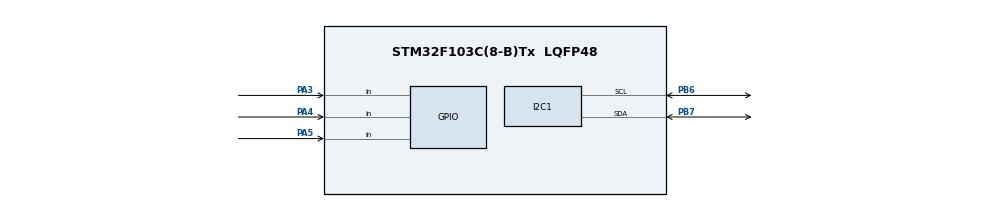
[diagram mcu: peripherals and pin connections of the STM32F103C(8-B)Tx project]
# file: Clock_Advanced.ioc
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Mcu.Family=STM32F1
Mcu.Name=STM32F103C(8-B)Tx
Mcu.Package=LQFP48
NVIC.PriorityGroup=NVIC_PRIORITYGROUP_3
NVIC.TIM2_IRQn=true\:0\:0\:false\:false\:true\:true\:true\:true
PA13.Mode=Serial_Wire
PA13.Signal=SYS_JTMS-SWDIO
PA14.Mode=Serial_Wire
PA14.Signal=SYS_JTCK-SWCLK
PA3.GPIO_PuPd=GPIO_PULLUP
PA3.Signal=GPIO_Input
PA4.GPIO_PuPd=GPIO_PULLUP
PA4.Signal=GPIO_Input
PA5.GPIO_PuPd=GPIO_PULLUP
PA5.Signal=GPIO_Input
PB6.Mode=I2C
PB6.Signal=I2C1_SCL
PB7.Mode=I2C
PB7.Signal=I2C1_SDA
PD0-OSC_IN.Mode=HSE-External-Oscillator
PD0-OSC_IN.Signal=RCC_OSC_IN
PD1-OSC_OUT.Mode=HSE-External-Oscillator
PD1-OSC_OUT.Signal=RCC_OSC_OUT
ProjectManager.HeapSize=0x200
ProjectManager.StackSize=0x400
ProjectManager.TargetToolchain=MDK-ARM V4
RCC.APB1Freq_Value=8000000
RCC.APB2Freq_Value=8000000
TIM2.AutoReloadPreload=TIM_AUTORELOAD_PRELOAD_ENABLE
TIM2.Period=999
TIM2.Prescaler=7999
VP_TIM2_VS_ClockSourceINT.Mode=Internal
board=custom

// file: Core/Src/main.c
/* USER CODE BEGIN Header */
/**
  ******************************************************************************
  * @file           : main.c
  * @brief          : Main program body
  ******************************************************************************
  * @attention
  *
  * Copyright (c) 2024 STMicroelectronics.
  * All rights reserved.
  *
  * This software is licensed under terms that can be found in the LICENSE file
  * in the root directory of this software component.
  * If no LICENSE file comes with this software, it is provided AS-IS.
  *
  ******************************************************************************
  */
/* USER CODE END Header */
#include "main.h"

/* USER CODE BEGIN Includes */
#include "RTC.h"
#include "LiquidCrystal_I2C.h"
#include "Button.h"
/* USER CODE END Includes */

I2C_HandleTypeDef hi2c1;

TIM_HandleTypeDef htim2;

void SystemClock_Config(void);
static void MX_GPIO_Init(void);
static void MX_TIM2_Init(void);
static void MX_I2C1_Init(void);
/* USER CODE BEGIN PFP */
RTC_Typedef hrtc1;
LiquidCrystal_I2C hlcd;
Button_Typdef start_stop_button;
Button_Typdef mode_button;
Button_Typdef light_button;
/* USER CODE END PFP */

/* USER CODE BEGIN 0 */

//--------define cac macro su dung o TRANG THAI IDLE----------------
typedef enum
{
	idle_state,
	adjust_time_state,
	set_alarm_state,
	sport_timer_state,
}mode_state;
mode_state clock_state= idle_state;

typedef enum
{
	backlight_on,
	backlight_off,
}back_light_state;
back_light_state backlight_state=backlight_off;

//--------define cac macro su dung o TRANG THAI SET TIME------------
typedef enum
{
	date_adjusting,
	month_adjusting,
	year_adjusting,
	hour_adjusting,
	min_adjusting,
	second_adjusting,
}adjusting_list;
adjusting_list adjusting_state;

//--------define cac macro su dung o TRANG THAI SET ALARM-----------
typedef enum
{
	hour_setAlarm,
	min_setAlarm,
	second_setAlarm,
}alarm;
alarm alarm_state;

typedef enum
{
	alarm_on,
	alarm_off,
}alarm_on_off;
alarm_on_off alarm_on_or_off;

typedef struct
{
	uint8_t hour;
	uint8_t min;
	uint8_t second;
}alarm_time;
alarm_time alarmTime;

//--------define cac macro su dung o TRANG THAI SPORT TIMER---------
typedef enum
{
	timer_pause,
	timer_run,
}timerState;
timerState timer_state;

typedef struct
{
	uint8_t min;
	uint8_t second;
	uint8_t tick;
}timerTime;
timerTime timer_time;

uint8_t alarming_flag;

void btn_press_short_callback(Button_Typdef *ButtonX ) // ngat duoc goi moi khi co 1 nut duoc nhan nha nhanh
{
	if (ButtonX == &mode_button) // neu nut duoc nhan la nut mode
	{
		if (clock_state == set_alarm_state)
		{
			alarm_on_or_off=alarm_on;
			clock_state=idle_state;
		}
		else
		{
			clock_state=idle_state;
		}
	}
	if (ButtonX == &start_stop_button) // neu nut duoc nhan la nut start_stop
	{
		if(clock_state == adjust_time_state)
		{
			switch(adjusting_state)
			{
				case date_adjusting:
					RTC_ReadTime(&hrtc1,&hrtc1.date_time);
					if (hrtc1.date_time.date==31) { hrtc1.date_time.date = 1;}
					else {hrtc1.date_time.date=(hrtc1.date_time.date)%31+1;}
					RTC_WriteTime(&hrtc1,&hrtc1.date_time);
					break;

				case month_adjusting:
					RTC_ReadTime(&hrtc1,&hrtc1.date_time);
					if (hrtc1.date_time.month==12) { hrtc1.date_time.month = 1;}
					else {hrtc1.date_time.month=(hrtc1.date_time.month)%12+1;}
					RTC_WriteTime(&hrtc1,&hrtc1.date_time);
					break;

				case year_adjusting:
					RTC_ReadTime(&hrtc1,&hrtc1.date_time);
					if (hrtc1.date_time.year==99) { hrtc1.date_time.year = 0;}
					else {hrtc1.date_time.year=(hrtc1.date_time.year++)%100;}
					RTC_WriteTime(&hrtc1,&hrtc1.date_time);
					break;

				case hour_adjusting:
					RTC_ReadTime(&hrtc1,&hrtc1.date_time);
					if (hrtc1.date_time.hour==23) { hrtc1.date_time.hour = 0;}
					else {hrtc1.date_time.hour=(hrtc1.date_time.hour++)%24;}
					RTC_WriteTime(&hrtc1,&hrtc1.date_time);
					break;

				case min_adjusting:
					RTC_ReadTime(&hrtc1,&hrtc1.date_time);
					if (hrtc1.date_time.min==59) { hrtc1.date_time.min = 0;}
					else {hrtc1.date_time.min=(hrtc1.date_time.min++)%60;}
					RTC_WriteTime(&hrtc1,&hrtc1.date_time);
					break;

				case second_adjusting:
					RTC_ReadTime(&hrtc1,&hrtc1.date_time);
					if (hrtc1.date_time.second==59) { hrtc1.date_time.second = 0;}
					else {hrtc1.date_time.second=(hrtc1.date_time.second++)%60;}
					RTC_WriteTime(&hrtc1,&hrtc1.date_time);
					break;

				default:
					break;
			}
		}
		if(clock_state==set_alarm_state)
		{
			switch(alarm_state)
			{
				case second_setAlarm:
					alarmTime.second= ((alarmTime.second)+1)%60;
					break;
				case min_setAlarm:
					alarmTime.min= ((alarmTime.min)+1)%60;
					break;
				case hour_setAlarm:
					alarmTime.hour= ((alarmTime.hour)+1)%24;
				break;

				default:
					break;
			}
		}
		if (clock_state== sport_timer_state)
		{
			switch(timer_state)
			{
				case timer_pause:
					timer_state= timer_run;
					break;
				case timer_run:
					timer_state= timer_pause;
					break;
				default:
					break;
			}
		}
	}
	if (ButtonX== &light_button) // neu nut duoc nhan la nut light
	{
		if (alarming_flag==1)
		{
			alarm_on_or_off= alarm_off;
			alarming_flag=0;
		}
		if (clock_state == idle_state)
		{
			switch (backlight_state)
			{
				case backlight_off:
					lcd_backlight_on(&hlcd);
					backlight_state= backlight_on;
					break;
				case backlight_on:
					lcd_backlight_off(&hlcd);
					backlight_state= backlight_off;
					break;
				default:
					break;
			}
		}

		if (clock_state == adjust_time_state)
		{
			switch(adjusting_state)
			{
				case date_adjusting:
					adjusting_state = month_adjusting;
				break;

				case month_adjusting:
					adjusting_state= year_adjusting;
				break;

				case year_adjusting:
					adjusting_state= hour_adjusting;
				break;

				case hour_adjusting:
					adjusting_state= min_adjusting;
				break;

				case min_adjusting:
					adjusting_state= second_adjusting;
				break;

				case second_adjusting:
					adjusting_state= date_adjusting;

				default:
					break;

			}
		}
		if (clock_state== set_alarm_state)
		{
			switch(alarm_state)
			{
				case second_setAlarm:
					alarm_state= min_setAlarm;
					break;
				case min_setAlarm:
					alarm_state= hour_setAlarm;
					break;
				case hour_setAlarm:
					alarm_state= second_setAlarm;
					break;
				default:
					break;
			}
		}
		if (clock_state== sport_timer_state)
		{
			timer_time.min=0;
			timer_time.second=0;
			timer_time.tick=0;
		}
	}
}

void btn_press_timeout1s_callback(Button_Typdef *ButtonX) // ngat duoc goi moi khi co 1 nut duoc nhan giu trong 1s
{
	if (ButtonX == &mode_button)
	{
		if (clock_state== idle_state)
		{
			clock_state= adjust_time_state;
			adjusting_state= date_adjusting;
		}
	}
}
void btn_press_timeout2s_callback(Button_Typdef *ButtonX) // ngat duoc goi moi khi co 1 nut duoc nhan giu trong 2s
{
	if (ButtonX == &mode_button)
	{
		if (clock_state == adjust_time_state)
		{
			clock_state= set_alarm_state;
			alarm_state= second_setAlarm;
			alarmTime.hour=0;
			alarmTime.min=0;
			alarmTime.second=0;
		}
	}
}
void btn_press_timeout3s_callback(Button_Typdef *ButtonX) // ngat duoc goi moi khi co 1 nut duoc nhan giu trong 3s
{
	if (ButtonX == &mode_button)
	{
		if (clock_state == set_alarm_state)
		{
			clock_state= sport_timer_state;
			timer_state=timer_pause;
		}
	}
}

void display_handle() // ham hien thi len LCD
{
	if (clock_state== idle_state)
	{
		RTC_ReadTime(&hrtc1,&hrtc1.date_time);
		lcd_set_cursor(&hlcd, 1,4);
		lcd_printf(&hlcd, "%02d:%02d:%02d",hrtc1.date_time.hour,
								hrtc1.date_time.min, hrtc1.date_time.second);
		lcd_set_cursor(&hlcd, 0,4);
		lcd_printf(&hlcd, "%02d-%02d-%02d",hrtc1.date_time.date,
						hrtc1.date_time.month,hrtc1.date_time.year);
	}
	if (clock_state== adjust_time_state)
	{
		switch(adjusting_state)
		{
			case date_adjusting:
					RTC_ReadTime(&hrtc1,&hrtc1.date_time);
					lcd_set_cursor(&hlcd, 1,4);
					lcd_printf(&hlcd, "%02d:%02d:%02d",hrtc1.date_time.hour,
											hrtc1.date_time.min, hrtc1.date_time.second);
					lcd_set_cursor(&hlcd, 0,4);
					lcd_printf(&hlcd, "%02d-%02d-%02d",hrtc1.date_time.date,
									hrtc1.date_time.month,hrtc1.date_time.year);
					for( uint16_t i=0;i<10000;i++) {}
						RTC_ReadTime(&hrtc1,&hrtc1.date_time);
					lcd_set_cursor(&hlcd, 1,4);
					lcd_printf(&hlcd, "%02d:%02d:%02d",hrtc1.date_time.hour,
											hrtc1.date_time.min, hrtc1.date_time.second);
					lcd_set_cursor(&hlcd, 0,4);
					lcd_printf(&hlcd, "%s-%02d-%02d","  ",
									hrtc1.date_time.month,hrtc1.date_time.year);
					for( uint16_t i=0;i<10000;i++) {}
				break;

			case month_adjusting:
					RTC_ReadTime(&hrtc1,&hrtc1.date_time);
					lcd_set_cursor(&hlcd, 1,4);
					lcd_printf(&hlcd, "%02d:%02d:%02d",hrtc1.date_time.hour,
									hrtc1.date_time.min, hrtc1.date_time.second);
					lcd_set_cursor(&hlcd, 0,4);
					lcd_printf(&hlcd, "%02d-%02d-%02d",hrtc1.date_time.date,
							hrtc1.date_time.month,hrtc1.date_time.year);
					for( uint16_t i=0;i<10000;i++) {}
					RTC_ReadTime(&hrtc1,&hrtc1.date_time);
					lcd_set_cursor(&hlcd, 1,4);
					lcd_printf(&hlcd, "%02d:%02d:%02d",hrtc1.date_time.hour,
									hrtc1.date_time.min, hrtc1.date_time.second);
					lcd_set_cursor(&hlcd, 0,4);
					lcd_printf(&hlcd, "%02d-%s-%02d",hrtc1.date_time.date,
							"  ",hrtc1.date_time.year);
					for( uint16_t i=0;i<10000;i++) {}
				break;

			case year_adjusting:
					RTC_ReadTime(&hrtc1,&hrtc1.date_time);
					lcd_set_cursor(&hlcd, 1,4);
					lcd_printf(&hlcd, "%02d:%02d:%02d",hrtc1.date_time.hour,
									hrtc1.date_time.min, hrtc1.date_time.second);
					lcd_set_cursor(&hlcd, 0,4);
					lcd_printf(&hlcd, "%02d-%02d-%02d",hrtc1.date_time.date,
							hrtc1.date_time.month,hrtc1.date_time.year);
					for( uint16_t i=0;i<10000;i++) {}
					RTC_ReadTime(&hrtc1,&hrtc1.date_time);
					lcd_set_cursor(&hlcd, 1,4);
					lcd_printf(&hlcd, "%02d:%02d:%02d",hrtc1.date_time.hour,
									hrtc1.date_time.min, hrtc1.date_time.second);
					lcd_set_cursor(&hlcd, 0,4);
					lcd_printf(&hlcd, "%02d-%02d-%s",hrtc1.date_time.date,
							hrtc1.date_time.month,"  ");
					for( uint16_t i=0;i<10000;i++) {}
				break;

			case hour_adjusting:
					RTC_ReadTime(&hrtc1,&hrtc1.date_time);
					lcd_set_cursor(&hlcd, 1,4);
					lcd_printf(&hlcd, "%02d:%02d:%02d",hrtc1.date_time.hour,
									hrtc1.date_time.min, hrtc1.date_time.second);
					lcd_set_cursor(&hlcd, 0,4);
					lcd_printf(&hlcd, "%02d-%02d-%02d",hrtc1.date_time.date,
							hrtc1.date_time.month,hrtc1.date_time.year);
					for( uint16_t i=0;i<10000;i++) {}
					RTC_ReadTime(&hrtc1,&hrtc1.date_time);
					lcd_set_cursor(&hlcd, 1,4);
					lcd_printf(&hlcd, "%s:%02d:%02d","  ",
									hrtc1.date_time.min, hrtc1.date_time.second);
					lcd_set_cursor(&hlcd, 0,4);
					lcd_printf(&hlcd, "%02d-%02d-%02d",hrtc1.date_time.date,
							hrtc1.date_time.month,hrtc1.date_time.year);
					for( uint16_t i=0;i<10000;i++) {}
				break;

			case min_adjusting:
					RTC_ReadTime(&hrtc1,&hrtc1.date_time);
					lcd_set_cursor(&hlcd, 1,4);
					lcd_printf(&hlcd, "%02d:%02d:%02d",hrtc1.date_time.hour,
									hrtc1.date_time.min, hrtc1.date_time.second);
					lcd_set_cursor(&hlcd, 0,4);
					lcd_printf(&hlcd, "%02d-%02d-%02d",hrtc1.date_time.date,
							hrtc1.date_time.month,hrtc1.date_time.year);
					for( uint16_t i=0;i<10000;i++) {}
					RTC_ReadTime(&hrtc1,&hrtc1.date_time);
					lcd_set_cursor(&hlcd, 1,4);
					lcd_printf(&hlcd, "%02d:%s:%02d",hrtc1.date_time.hour,
									"  ", hrtc1.date_time.second);
					lcd_set_cursor(&hlcd, 0,4);
					lcd_printf(&hlcd, "%02d-%02d-%02d",hrtc1.date_time.date,
							hrtc1.date_time.month,hrtc1.date_time.year);
					for( uint16_t i=0;i<10000;i++) {}
				break;

			case second_adjusting:
					RTC_ReadTime(&hrtc1,&hrtc1.date_time);
					lcd_set_cursor(&hlcd, 1,4);
					lcd_printf(&hlcd, "%02d:%02d:%02d",hrtc1.date_time.hour,
									hrtc1.date_time.min, hrtc1.date_time.second);
					lcd_set_cursor(&hlcd, 0,4);
					lcd_printf(&hlcd, "%02d-%02d-%02d",hrtc1.date_time.date,
							hrtc1.date_time.month,hrtc1.date_time.year);
					for( uint16_t i=0;i<10000;i++) {}
					RTC_ReadTime(&hrtc1,&hrtc1.date_time);
					lcd_set_cursor(&hlcd, 1,4);
					lcd_printf(&hlcd, "%02d:%02d:%s",hrtc1.date_time.hour,
									hrtc1.date_time.min, "  ");
					lcd_set_cursor(&hlcd, 0,4);
					lcd_printf(&hlcd, "%02d-%02d-%02d",hrtc1.date_time.date,
							hrtc1.date_time.month,hrtc1.date_time.year);
					for( uint16_t i=0;i<10000;i++) {}
				break;

			default:
				break;
		}
	}

	if (clock_state == set_alarm_state)
	{
		if(alarm_state == second_setAlarm)
		{
			lcd_set_cursor(&hlcd,0,4);
			lcd_printf(&hlcd,"SETALARM");
			lcd_set_cursor(&hlcd,1,4);
			lcd_printf(&hlcd, "%02d:%02d:%02d",alarmTime.hour,alarmTime.min,alarmTime.second);
			for( uint16_t i=0;i<10000;i++) {}
			lcd_set_cursor(&hlcd,0,4);
			lcd_printf(&hlcd,"SETALARM");
			lcd_set_cursor(&hlcd,1,4);
			lcd_printf(&hlcd, "%02d:%02d:%s",alarmTime.hour,alarmTime.min,"  ");
			for( uint16_t i=0;i<10000;i++) {}
		}
		if(alarm_state == min_setAlarm)
		{
			lcd_set_cursor(&hlcd,0,4);
			lcd_printf(&hlcd,"SETALARM");
			lcd_set_cursor(&hlcd,1,4);
			lcd_printf(&hlcd, "%02d:%02d:%02d",alarmTime.hour,alarmTime.min,alarmTime.second);
			for( uint16_t i=0;i<10000;i++) {}
			lcd_set_cursor(&hlcd,0,4);
			lcd_printf(&hlcd,"SETALARM");
			lcd_set_cursor(&hlcd,1,4);
			lcd_printf(&hlcd, "%02d:%s:%02d",alarmTime.hour,"  ",alarmTime.second);
			for( uint16_t i=0;i<10000;i++) {}
		}
		if(alarm_state == hour_setAlarm)
		{
			lcd_set_cursor(&hlcd,0,4);
			lcd_printf(&hlcd,"SETALARM");
			lcd_set_cursor(&hlcd,1,4);
			lcd_printf(&hlcd, "%02d:%02d:%02d",alarmTime.hour,alarmTime.min,alarmTime.second);
			for( uint16_t i=0;i<10000;i++) {}
			lcd_set_cursor(&hlcd,0,4);
			lcd_printf(&hlcd,"SETALARM");
			lcd_set_cursor(&hlcd,1,4);
			lcd_printf(&hlcd, "%s:%02d:%02d","  ",alarmTime.min,alarmTime.second);
			for( uint16_t i=0;i<10000;i++) {}
		}
	}
	if (clock_state== sport_timer_state)
	{
		lcd_set_cursor(&hlcd,0,4);
		lcd_printf(&hlcd," TIMER  ");
		lcd_set_cursor(&hlcd,1,4);
		lcd_printf(&hlcd, "%02d:%02d:%02d",timer_time.min,timer_time.second,timer_time.tick);
	}
}

void check_alarm(alarm_time* time) // ham check xem gio hien tai da den gio bao thuc chua
{

	RTC_ReadTime(&hrtc1,&hrtc1.date_time);
	if (hrtc1.date_time.hour == time->hour && hrtc1.date_time.min == time->min && hrtc1.date_time.second == time->second)
	{
		alarming_flag=1;
	}
}

void HAL_TIM_PeriodElapsedCallback(TIM_HandleTypeDef *htim)
{
	timer_time.second++;
	if (timer_time.second==60)
	{
		timer_time.second=0;
		(timer_time.min)++;
	}
}

void timer_handle(timerTime* time ) // quan li dong ho bam gio
{
	if (timer_state== timer_pause)
	{
		HAL_TIM_Base_Stop_IT(&htim2);
	}
	if (timer_state== timer_run)
	{

		time->tick= (TIM2->CNT)/10;
		HAL_TIM_Base_Start_IT(&htim2);
	}
}
uint32_t temp=0;
/* USER CODE END 0 */

int main(void)
{

  /* MCU Configuration--------------------------------------------------------*/

  /* Reset of all peripherals, Initializes the Flash interface and the Systick. */
  HAL_Init();

  /* USER CODE BEGIN Init */
	RTC_Init(&hrtc1,&hi2c1);
	lcd_init(&hlcd,&hi2c1,LCD_ADDR_DEFAULT);
	button_init(&start_stop_button,GPIOA,GPIO_PIN_3);
	button_init(&mode_button,GPIOA,GPIO_PIN_4);
	button_init(&light_button,GPIOA,GPIO_PIN_5);
  /* USER CODE END Init */

  /* Configure the system clock */
  SystemClock_Config();

  /* Initialize all configured peripherals */
  MX_GPIO_Init();
  MX_TIM2_Init();
  MX_I2C1_Init();

  /* Infinite loop */
  while (1)
  {

    /* USER CODE BEGIN 3 */
		button_handle(&start_stop_button);
		button_handle(&mode_button);
		button_handle(&light_button);
		if (clock_state==sport_timer_state)
		{
			timer_handle(&timer_time);
		}
		display_handle();
		if (alarm_on_or_off == alarm_on)
		{
			check_alarm(&alarmTime);
		}
		if (alarming_flag==1)
		{

			if (HAL_GetTick() - temp >=500)
			{
				switch(backlight_state)
				{
					case backlight_on:
						lcd_backlight_off(&hlcd);
						backlight_state= backlight_off;
						break;
					case backlight_off:
						lcd_backlight_on(&hlcd);
						backlight_state= backlight_on;
						break;
					default:
						break;
				}
				temp=HAL_GetTick();
			}
		}

  }
  /* USER CODE END 3 */
}

void SystemClock_Config(void)
{
  RCC_OscInitTypeDef RCC_OscInitStruct = {0};
  RCC_ClkInitTypeDef RCC_ClkInitStruct = {0};

  /** Initializes the RCC Oscillators according to the specified parameters
  * in the RCC_OscInitTypeDef structure.
  */
  RCC_OscInitStruct.OscillatorType = RCC_OSCILLATORTYPE_HSI;
  RCC_OscInitStruct.HSIState = RCC_HSI_ON;
  RCC_OscInitStruct.HSICalibrationValue = RCC_HSICALIBRATION_DEFAULT;
  RCC_OscInitStruct.PLL.PLLState = RCC_PLL_NONE;
  if (HAL_RCC_OscConfig(&RCC_OscInitStruct) != HAL_OK)
  {
    Error_Handler();
  }

  /** Initializes the CPU, AHB and APB buses clocks
  */
  RCC_ClkInitStruct.ClockType = RCC_CLOCKTYPE_HCLK|RCC_CLOCKTYPE_SYSCLK
                              |RCC_CLOCKTYPE_PCLK1|RCC_CLOCKTYPE_PCLK2;
  RCC_ClkInitStruct.SYSCLKSource = RCC_SYSCLKSOURCE_HSI;
  RCC_ClkInitStruct.AHBCLKDivider = RCC_SYSCLK_DIV1;
  RCC_ClkInitStruct.APB1CLKDivider = RCC_HCLK_DIV1;
  RCC_ClkInitStruct.APB2CLKDivider = RCC_HCLK_DIV1;

  if (HAL_RCC_ClockConfig(&RCC_ClkInitStruct, FLASH_LATENCY_0) != HAL_OK)
  {
    Error_Handler();
  }
}

static void MX_I2C1_Init(void)
{

  hi2c1.Instance = I2C1;
  hi2c1.Init.ClockSpeed = 100000;
  hi2c1.Init.DutyCycle = I2C_DUTYCYCLE_2;
  hi2c1.Init.OwnAddress1 = 0;
  hi2c1.Init.AddressingMode = I2C_ADDRESSINGMODE_7BIT;
  hi2c1.Init.DualAddressMode = I2C_DUALADDRESS_DISABLE;
  hi2c1.Init.OwnAddress2 = 0;
  hi2c1.Init.GeneralCallMode = I2C_GENERALCALL_DISABLE;
  hi2c1.Init.NoStretchMode = I2C_NOSTRETCH_DISABLE;
  if (HAL_I2C_Init(&hi2c1) != HAL_OK)
  {
    Error_Handler();
  }

}

static void MX_TIM2_Init(void)
{

  TIM_ClockConfigTypeDef sClockSourceConfig = {0};
  TIM_MasterConfigTypeDef sMasterConfig = {0};

  htim2.Instance = TIM2;
  htim2.Init.Prescaler = 7999;
  htim2.Init.CounterMode = TIM_COUNTERMODE_UP;
  htim2.Init.Period = 999;
  htim2.Init.ClockDivision = TIM_CLOCKDIVISION_DIV1;
  htim2.Init.AutoReloadPreload = TIM_AUTORELOAD_PRELOAD_ENABLE;
  if (HAL_TIM_Base_Init(&htim2) != HAL_OK)
  {
    Error_Handler();
  }
  sClockSourceConfig.ClockSource = TIM_CLOCKSOURCE_INTERNAL;
  if (HAL_TIM_ConfigClockSource(&htim2, &sClockSourceConfig) != HAL_OK)
  {
    Error_Handler();
  }
  sMasterConfig.MasterOutputTrigger = TIM_TRGO_RESET;
  sMasterConfig.MasterSlaveMode = TIM_MASTERSLAVEMODE_DISABLE;
  if (HAL_TIMEx_MasterConfigSynchronization(&htim2, &sMasterConfig) != HAL_OK)
  {
    Error_Handler();
  }

}

static void MX_GPIO_Init(void)
{
  GPIO_InitTypeDef GPIO_InitStruct = {0};

  /* GPIO Ports Clock Enable */
  __HAL_RCC_GPIOD_CLK_ENABLE();
  __HAL_RCC_GPIOA_CLK_ENABLE();
  __HAL_RCC_GPIOB_CLK_ENABLE();

  /*Configure GPIO pins : PA3 PA4 PA5 */
  GPIO_InitStruct.Pin = GPIO_PIN_3|GPIO_PIN_4|GPIO_PIN_5;
  GPIO_InitStruct.Mode = GPIO_MODE_INPUT;
  GPIO_InitStruct.Pull = GPIO_PULLUP;
  HAL_GPIO_Init(GPIOA, &GPIO_InitStruct);

}

void Error_Handler(void)
{
  __disable_irq();
  while (1)
  {
  }
}
